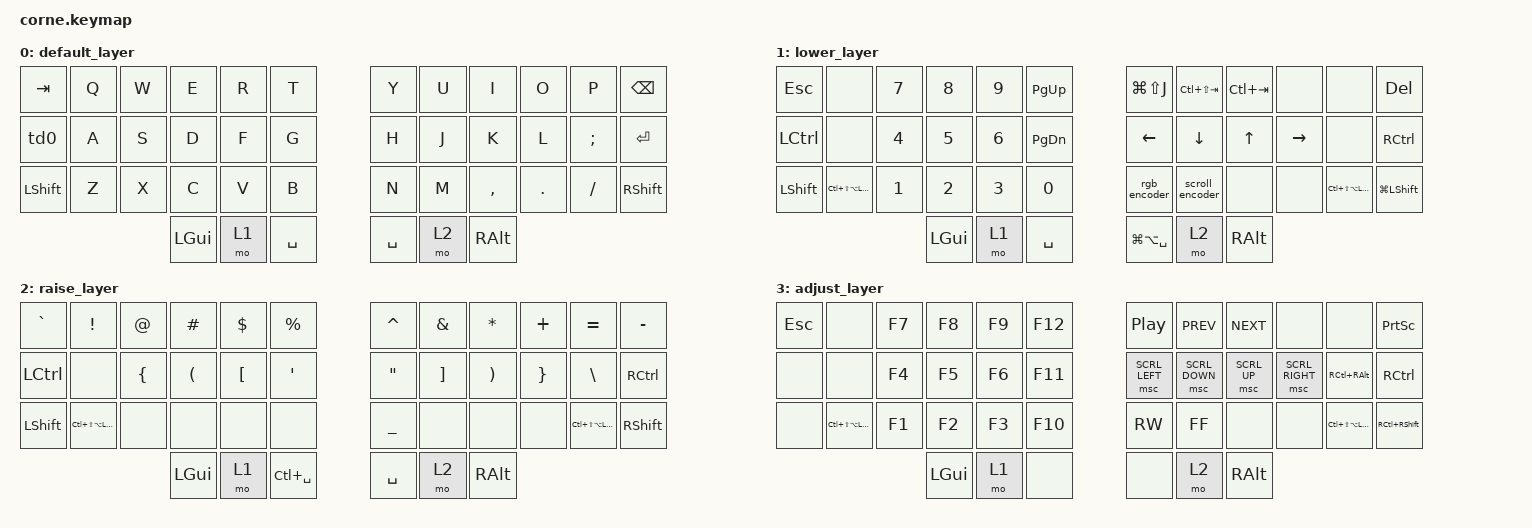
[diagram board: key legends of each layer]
/*
 * Copyright (c) 2020 The ZMK Contributors
 *
 * SPDX-License-Identifier: MIT
 */

#include <behaviors.dtsi>
#include <dt-bindings/zmk/keys.h>
#include <dt-bindings/zmk/pointing.h>
#include <dt-bindings/zmk/bt.h>
#include <dt-bindings/zmk/mouse.h>
#include <dt-bindings/zmk/outputs.h>
#include <dt-bindings/zmk/rgb.h>
#include <input/processors.dtsi>

#define ZMK_MOUSE_DEFAULT_MOVE_VAL 1200  // Enhanced mouse sensitivity
#define ZMK_MOUSE_DEFAULT_SCRL_VAL 20    // Enhanced scroll sensitivity
#define LOWER   1
#define RAISE   2

/ {
    behaviors {
        td0: td0 {
            compatible = "zmk,behavior-tap-dance";
            display-name = "Shift/Caps Lock Tap Dance";
            #binding-cells = <0>;
            bindings = <&kp LEFT_SHIFT>, <&kp CAPS>;
        };

        rgb_encoder: rgb_encoder {
            compatible = "zmk,behavior-sensor-rotate";
            #sensor-binding-cells = <0>;
            bindings = <&rgb_ug RGB_BRI>, <&rgb_ug RGB_BRD>;
        };

        scroll_encoder: scroll_encoder {
            compatible = "zmk,behavior-sensor-rotate";
            #sensor-binding-cells = <0>;
            bindings = <&msc SCRL_UP>, <&msc SCRL_DOWN>;
        };
    };

    keymap {
        compatible = "zmk,keymap";

        default_layer {
            bindings = <
&kp TAB    &kp Q  &kp W  &kp E     &kp R  &kp T        &kp Y      &kp U  &kp I      &kp O    &kp P     &kp BSPC
&td0       &kp A  &kp S  &kp D     &kp F  &kp G        &kp H      &kp J  &kp K      &kp L    &kp SEMI  &kp RET
&kp LSHFT  &kp Z  &kp X  &kp C     &kp V  &kp B        &kp N      &kp M  &kp COMMA  &kp DOT  &kp FSLH  &kp RSHFT
                         &kp LGUI  &mo 1  &kp SPACE    &kp SPACE  &mo 2  &kp RALT
            >;
        };

        lower_layer {
            bindings = <
&kp ESC    &none                 &kp N7  &kp N8    &kp N9  &kp PAGE_UP      &kp LG(LS(J))      &kp LC(LS(TAB))  &kp LC(TAB)  &none      &none                 &kp DELETE
&kp LCTRL  &none                 &kp N4  &kp N5    &kp N6  &kp PAGE_DOWN    &kp LEFT           &kp DOWN         &kp UP       &kp RIGHT  &none                 &kp RCTRL
&kp LSHFT  &kp LC(LS(LA(LGUI)))  &kp N1  &kp N2    &kp N3  &kp N0           &rgb_encoder      &scroll_encoder  &none        &none      &kp LC(LS(LA(LGUI)))  &kp LG(LSHFT)
                                         &kp LGUI  &mo 1   &kp SPACE        &kp LG(LA(SPACE))  &mo 2            &kp RALT
            >;
        };

        raise_layer {
            bindings = <
&kp GRAVE  &kp EXCL              &kp AT          &kp POUND             &kp DOLLAR        &kp PERCENT      &kp CARET          &kp AMPS           &kp STAR               &kp PLUS         &kp EQUAL             &kp MINUS
&kp LCTRL  &none                 &kp LEFT_BRACE  &kp LEFT_PARENTHESIS  &kp LEFT_BRACKET  &kp SQT          &kp DOUBLE_QUOTES  &kp RIGHT_BRACKET  &kp RIGHT_PARENTHESIS  &kp RIGHT_BRACE  &kp BACKSLASH         &kp RCTRL
&kp LSHFT  &kp LC(LS(LA(LGUI)))  &none           &none                 &none             &none            &kp UNDER          &none              &none                  &none            &kp LC(LS(LA(LGUI)))  &kp RSHFT
                                                 &kp LGUI              &mo 1             &kp LC(SPACE)    &kp SPACE          &mo 2              &kp RALT
            >;
        };

        adjust_layer {
            bindings = <
&kp ESC  &none                 &kp F7  &kp F8    &kp F9  &kp F12    &kp C_PP        &kp C_PREV      &kp C_NEXT    &none            &none                 &kp PRINTSCREEN
&none    &none                 &kp F4  &kp F5    &kp F6  &kp F11    &msc SCRL_LEFT  &msc SCRL_DOWN  &msc SCRL_UP  &msc SCRL_RIGHT  &kp RC(RALT)          &kp RCTRL
&none    &kp LC(LS(LA(LGUI)))  &kp F1  &kp F2    &kp F3  &kp F10    &kp C_RW        &kp C_FF        &none         &none            &kp LC(LS(LA(LGUI)))  &kp RC(RSHFT)
                                       &kp LGUI  &mo 1   &none      &none           &mo 2           &kp RALT
            >;
        };
    };

    conditional_layers {
        compatible = "zmk,conditional-layers";

        adjust_condition {
            if-layers = <1 2>;
            then-layer = <3>;
        };
    };
};
